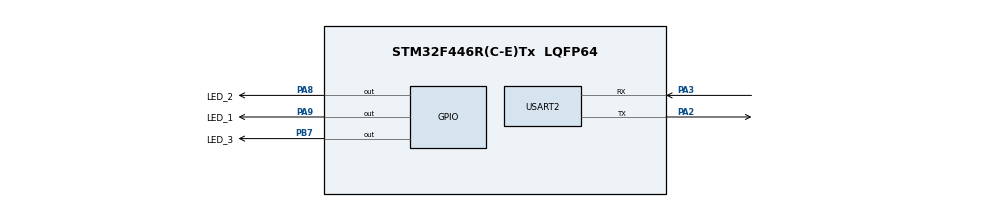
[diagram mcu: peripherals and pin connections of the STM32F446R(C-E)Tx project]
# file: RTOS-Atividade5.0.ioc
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FREERTOS.Mutexes01=mutex01,Dynamic,NULL,Available
FREERTOS.Tasks01=Task_1,24,128,StartTask1,Default,NULL,Dynamic,NULL,NULL;Task_2,24,128,StartTask2,Default,NULL,Dynamic,NULL,NULL;Task_3,24,128,StartTask3,Default,NULL,Dynamic,NULL,NULL
FREERTOS.configUSE_NEWLIB_REENTRANT=1
Mcu.Family=STM32F4
Mcu.Name=STM32F446R(C-E)Tx
Mcu.Package=LQFP64
NVIC.PriorityGroup=NVIC_PRIORITYGROUP_4
NVIC.TIM1_UP_TIM10_IRQn=true\:15\:0\:false\:false\:true\:false\:false\:true\:true
NVIC.TimeBase=TIM1_UP_TIM10_IRQn
NVIC.TimeBaseIP=TIM1
PA2.Mode=Asynchronous
PA2.Signal=USART2_TX
PA3.Mode=Asynchronous
PA3.Signal=USART2_RX
PA8.GPIO_Label=LED_2
PA8.Signal=GPIO_Output
PA9.GPIO_Label=LED_1
PA9.Signal=GPIO_Output
PB7.GPIO_Label=LED_3
PB7.Signal=GPIO_Output
ProjectManager.HeapSize=0x200
ProjectManager.StackSize=0x400
ProjectManager.TargetToolchain=STM32CubeIDE
RCC.CortexFreq_Value=16000000
RCC.USBFreq_Value=96000000
RCC.VCOOutputFreq_Value=192000000
USART2.VirtualMode=VM_ASYNC
VP_FREERTOS_VS_CMSIS_V2.Mode=CMSIS_V2
VP_SYS_VS_tim1.Mode=TIM1
board=custom

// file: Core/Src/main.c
/* USER CODE BEGIN Header */
/**
 ******************************************************************************
 * @file           : main.c
 * @brief          : Main program body
 ******************************************************************************
 * @attention
 *
 * Copyright (c) 2025 STMicroelectronics.
 * All rights reserved.
 *
 * This software is licensed under terms that can be found in the LICENSE file
 * in the root directory of this software component.
 * If no LICENSE file comes with this software, it is provided AS-IS.
 *
 ******************************************************************************
 */
/* USER CODE END Header */
#include "main.h"
#include "cmsis_os.h"

UART_HandleTypeDef huart2;

/* Definitions for Task_1 */
osThreadId_t Task_1Handle;
const osThreadAttr_t Task_1_attributes = { .name = "Task_1", .stack_size = 128
		* 4, .priority = (osPriority_t) osPriorityNormal, };
/* Definitions for Task_2 */
osThreadId_t Task_2Handle;
const osThreadAttr_t Task_2_attributes = { .name = "Task_2", .stack_size = 128
		* 4, .priority = (osPriority_t) osPriorityNormal, };
/* Definitions for Task_3 */
osThreadId_t Task_3Handle;
const osThreadAttr_t Task_3_attributes = { .name = "Task_3", .stack_size = 128
		* 4, .priority = (osPriority_t) osPriorityNormal, };
/* Definitions for mutex01 */
osMutexId_t mutex01Handle;
const osMutexAttr_t mutex01_attributes = { .name = "mutex01" };
/* USER CODE BEGIN PV */
osThreadId_t DonoMutex;
/* USER CODE END PV */

void SystemClock_Config(void);
static void MX_GPIO_Init(void);
static void MX_USART2_UART_Init(void);
void StartTask1(void *argument);
void StartTask2(void *argument);
void StartTask3(void *argument);

int main(void) {

	/* MCU Configuration--------------------------------------------------------*/

	/* Reset of all peripherals, Initializes the Flash interface and the Systick. */
	HAL_Init();

	/* Configure the system clock */
	SystemClock_Config();

	/* Initialize all configured peripherals */
	MX_GPIO_Init();
	MX_USART2_UART_Init();

	/* Init scheduler */
	osKernelInitialize();
	/* Create the mutex(es) */
	/* creation of mutex01 */
	mutex01Handle = osMutexNew(&mutex01_attributes);

	/* Create the thread(s) */
	/* creation of Task_1 */
	Task_1Handle = osThreadNew(StartTask1, NULL, &Task_1_attributes);

	/* creation of Task_2 */
	Task_2Handle = osThreadNew(StartTask2, NULL, &Task_2_attributes);

	/* creation of Task_3 */
	Task_3Handle = osThreadNew(StartTask3, NULL, &Task_3_attributes);

	/* Start scheduler */
	osKernelStart();

	/* We should never get here as control is now taken by the scheduler */

	/* Infinite loop */
	while (1) {

	}
}

void SystemClock_Config(void) {
	RCC_OscInitTypeDef RCC_OscInitStruct = { 0 };
	RCC_ClkInitTypeDef RCC_ClkInitStruct = { 0 };

	/** Configure the main internal regulator output voltage
	 */
	__HAL_RCC_PWR_CLK_ENABLE();
	__HAL_PWR_VOLTAGESCALING_CONFIG(PWR_REGULATOR_VOLTAGE_SCALE3);

	/** Initializes the RCC Oscillators according to the specified parameters
	 * in the RCC_OscInitTypeDef structure.
	 */
	RCC_OscInitStruct.OscillatorType = RCC_OSCILLATORTYPE_HSI;
	RCC_OscInitStruct.HSIState = RCC_HSI_ON;
	RCC_OscInitStruct.HSICalibrationValue = RCC_HSICALIBRATION_DEFAULT;
	RCC_OscInitStruct.PLL.PLLState = RCC_PLL_NONE;
	if (HAL_RCC_OscConfig(&RCC_OscInitStruct) != HAL_OK) {
		Error_Handler();
	}

	/** Initializes the CPU, AHB and APB buses clocks
	 */
	RCC_ClkInitStruct.ClockType = RCC_CLOCKTYPE_HCLK | RCC_CLOCKTYPE_SYSCLK
			| RCC_CLOCKTYPE_PCLK1 | RCC_CLOCKTYPE_PCLK2;
	RCC_ClkInitStruct.SYSCLKSource = RCC_SYSCLKSOURCE_HSI;
	RCC_ClkInitStruct.AHBCLKDivider = RCC_SYSCLK_DIV1;
	RCC_ClkInitStruct.APB1CLKDivider = RCC_HCLK_DIV1;
	RCC_ClkInitStruct.APB2CLKDivider = RCC_HCLK_DIV1;

	if (HAL_RCC_ClockConfig(&RCC_ClkInitStruct, FLASH_LATENCY_0) != HAL_OK) {
		Error_Handler();
	}
}

static void MX_USART2_UART_Init(void) {

	huart2.Instance = USART2;
	huart2.Init.BaudRate = 115200;
	huart2.Init.WordLength = UART_WORDLENGTH_8B;
	huart2.Init.StopBits = UART_STOPBITS_1;
	huart2.Init.Parity = UART_PARITY_NONE;
	huart2.Init.Mode = UART_MODE_TX_RX;
	huart2.Init.HwFlowCtl = UART_HWCONTROL_NONE;
	huart2.Init.OverSampling = UART_OVERSAMPLING_16;
	if (HAL_UART_Init(&huart2) != HAL_OK) {
		Error_Handler();
	}

}

static void MX_GPIO_Init(void) {
	GPIO_InitTypeDef GPIO_InitStruct = { 0 };

	/* GPIO Ports Clock Enable */
	__HAL_RCC_GPIOA_CLK_ENABLE();
	__HAL_RCC_GPIOB_CLK_ENABLE();

	/*Configure GPIO pin Output Level */
	HAL_GPIO_WritePin(GPIOA, LED_2_Pin | LED_1_Pin, GPIO_PIN_RESET);

	/*Configure GPIO pin Output Level */
	HAL_GPIO_WritePin(LED_3_GPIO_Port, LED_3_Pin, GPIO_PIN_RESET);

	/*Configure GPIO pins : LED_2_Pin LED_1_Pin */
	GPIO_InitStruct.Pin = LED_2_Pin | LED_1_Pin;
	GPIO_InitStruct.Mode = GPIO_MODE_OUTPUT_PP;
	GPIO_InitStruct.Pull = GPIO_NOPULL;
	GPIO_InitStruct.Speed = GPIO_SPEED_FREQ_LOW;
	HAL_GPIO_Init(GPIOA, &GPIO_InitStruct);

	/*Configure GPIO pin : LED_3_Pin */
	GPIO_InitStruct.Pin = LED_3_Pin;
	GPIO_InitStruct.Mode = GPIO_MODE_OUTPUT_PP;
	GPIO_InitStruct.Pull = GPIO_NOPULL;
	GPIO_InitStruct.Speed = GPIO_SPEED_FREQ_LOW;
	HAL_GPIO_Init(LED_3_GPIO_Port, &GPIO_InitStruct);

}

void StartTask1(void *argument) {
	/* USER CODE BEGIN 5 */
	char strEntrando[] = "Task 1 - Usando recurso...\n";
	char strSaindo[] = "Task 1 - Liberando recurso...\n";

	/* Infinite loop */
	for (;;) {
		if (osMutexAcquire(mutex01Handle, osWaitForever) == osOK) {
			//Quem é o dono
			DonoMutex = osMutexGetOwner(mutex01Handle);
			// --- SEÇÃO CRÍTICA INÍCIO ---
			HAL_UART_Transmit(&huart2, (uint8_t*) strEntrando, strlen(strEntrando), 100);
			HAL_GPIO_TogglePin(LED_1_GPIO_Port, LED_1_Pin);
			osDelay(500);
			// --- SEÇÃO CRÍTICA FIM ---
			HAL_UART_Transmit(&huart2, (uint8_t*) strSaindo, strlen(strSaindo), 100);
			osMutexRelease(mutex01Handle);
		}

		// Um pequeno delay para dar chance a outras tarefas de executarem e tentarem pegar o mutex.
		osDelay(200);
	}
	/* USER CODE END 5 */
}

/* USER CODE BEGIN Header_StartTask2 */
/**
 * @brief Function implementing the Task_2 thread.
 * Requisito: Pode manter o mutex por até 3 ciclos, depois obrigatoriamente libera.
 * @param argument: Not used
 * @retval None
 */
/* USER CODE END Header_StartTask2 */
void StartTask2(void *argument) {
	/* USER CODE BEGIN StartTask2 */
	char strEntrando[] = "Task 2 - Adquiri o mutex, vou usar por 3 ciclos.\n";
	char strCiclo[] = "Task 2 - Ciclo de uso...\n";
	char strLiberando[] = "Task 2 - Fim dos 3 ciclos, liberando o mutex.\n";

	/* Infinite loop */
	for (;;) {
		if (osMutexAcquire(mutex01Handle, osWaitForever) == osOK) {

			// Apenas para depuração
			DonoMutex = osMutexGetOwner(mutex01Handle);
			HAL_UART_Transmit(&huart2, (uint8_t*) strEntrando, strlen(strEntrando), 100);
			// 3 vezes de ciclo
			for (int i = 0; i < 3; i++) {
				// --- SEÇÃO CRÍTICA ---
				HAL_UART_Transmit(&huart2, (uint8_t*) strCiclo, strlen(strCiclo), 100);
				HAL_GPIO_TogglePin(LED_1_GPIO_Port, LED_1_Pin); // Usando o mesmo LED da Task 1
				osDelay(800); // Delay de cada ciclo de uso
				// --- FIM DA SEÇÃO CRÍTICA ---
			}

			// 3. Libera o mutex obrigatoriamente após os 3 ciclos.
			HAL_UART_Transmit(&huart2, (uint8_t*) strLiberando, strlen(strLiberando), 100);
			HAL_GPIO_WritePin(LED_1_GPIO_Port, LED_1_Pin, GPIO_PIN_RESET); // Apaga o LED ao sair
			osMutexRelease(mutex01Handle);
		}

		// Um pequeno delay para dar chance a outras tarefas de executarem e tentarem pegar o mutex.
		osDelay(200);
	}
	/* USER CODE END StartTask2 */
}

/* USER CODE BEGIN Header_StartTask3 */
/**
 * @brief Function implementing the Task_3 thread.
 * Requisito: Se bloqueada por > 2s, envia alerta e acende LED de aviso.
 * @param argument: Not used
 * @retval None
 */
/* USER CODE END Header_StartTask3 */
void StartTask3(void *argument) {
	/* USER CODE BEGIN StartTask3 */
	char strTentando[] = "Task 3 - Tentando pegar mutex (timeout 2s)...\n";
	char strFalhou[] = "Task 3 - ALERTA! Mutex bloqueado por mais de 2s!\n";
	char strSucesso[] = "Task 3 - Mutex adquirido com sucesso.\n";

	/* Infinite loop */
	for (;;) {
		// A lógica de aquisição dentro do loop já estava correta.
		HAL_UART_Transmit(&huart2, (uint8_t*) strTentando, strlen(strTentando), 100);
		osStatus_t status = osMutexAcquire(mutex01Handle, 2000);

		// Apenas para depuração.
		DonoMutex = osMutexGetOwner(mutex01Handle);

		if (status != osOK) {
			// FALHA: Timeout ocorreu. O status será osErrorTimeout.
			HAL_UART_Transmit(&huart2, (uint8_t*) strFalhou, strlen(strFalhou), 100);
		} else {
			//Mutex adquirido.

			// --- SEÇÃO CRÍTICA ---
			HAL_UART_Transmit(&huart2, (uint8_t*) strSucesso, strlen(strSucesso), 100);
			HAL_GPIO_TogglePin(LED_1_GPIO_Port, LED_1_Pin);
			osDelay(500);
			// --- FIM DA SEÇÃO CRÍTICA ---

			// Libera o mutex
			osMutexRelease(mutex01Handle);
		}

		// Delay para a próxima tentativa.
		osDelay(300);
	}
	/* USER CODE END StartTask3 */
}

void HAL_TIM_PeriodElapsedCallback(TIM_HandleTypeDef *htim) {
	if (htim->Instance == TIM1) {
		HAL_IncTick();
	}
}

void Error_Handler(void) {
	__disable_irq();
	while (1) {
	}
}
